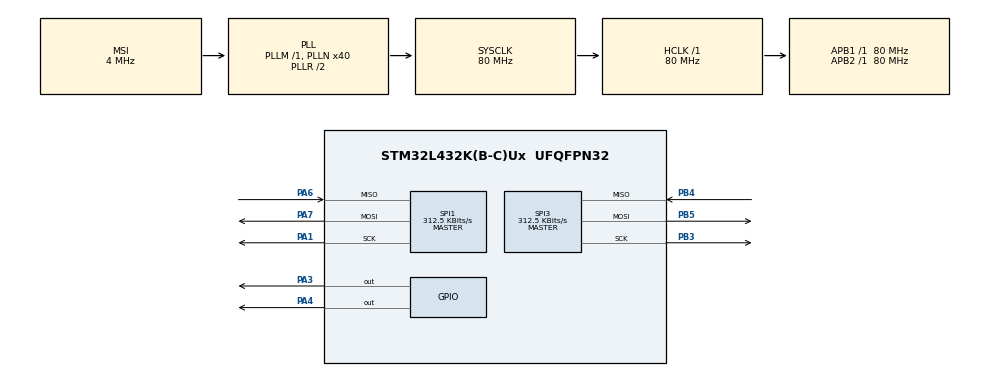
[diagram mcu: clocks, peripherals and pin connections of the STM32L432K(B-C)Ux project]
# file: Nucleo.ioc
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Dma.Request0=SPI1_RX
Dma.Request1=SPI1_TX
Dma.Request2=SPI3_RX
Dma.Request3=SPI3_TX
Dma.SPI1_RX.0.Direction=DMA_PERIPH_TO_MEMORY
Dma.SPI1_RX.0.Instance=DMA1_Channel2
Dma.SPI1_RX.0.MemDataAlignment=DMA_MDATAALIGN_BYTE
Dma.SPI1_RX.0.MemInc=DMA_MINC_ENABLE
Dma.SPI1_RX.0.Mode=DMA_NORMAL
Dma.SPI1_RX.0.PeriphDataAlignment=DMA_PDATAALIGN_BYTE
Dma.SPI1_RX.0.PeriphInc=DMA_PINC_DISABLE
Dma.SPI1_RX.0.Priority=DMA_PRIORITY_LOW
Dma.SPI1_TX.1.Direction=DMA_MEMORY_TO_PERIPH
Dma.SPI1_TX.1.Instance=DMA1_Channel3
Dma.SPI1_TX.1.MemDataAlignment=DMA_MDATAALIGN_BYTE
Dma.SPI1_TX.1.MemInc=DMA_MINC_ENABLE
Dma.SPI1_TX.1.Mode=DMA_NORMAL
Dma.SPI1_TX.1.PeriphDataAlignment=DMA_PDATAALIGN_BYTE
Dma.SPI1_TX.1.PeriphInc=DMA_PINC_DISABLE
Dma.SPI1_TX.1.Priority=DMA_PRIORITY_LOW
Dma.SPI3_RX.2.Direction=DMA_PERIPH_TO_MEMORY
Dma.SPI3_RX.2.Instance=DMA2_Channel1
Dma.SPI3_RX.2.MemDataAlignment=DMA_MDATAALIGN_BYTE
Dma.SPI3_RX.2.MemInc=DMA_MINC_ENABLE
Dma.SPI3_RX.2.Mode=DMA_NORMAL
Dma.SPI3_RX.2.PeriphDataAlignment=DMA_PDATAALIGN_BYTE
Dma.SPI3_RX.2.PeriphInc=DMA_PINC_DISABLE
Dma.SPI3_RX.2.Priority=DMA_PRIORITY_LOW
Dma.SPI3_TX.3.Direction=DMA_MEMORY_TO_PERIPH
Dma.SPI3_TX.3.Instance=DMA2_Channel2
Dma.SPI3_TX.3.MemDataAlignment=DMA_MDATAALIGN_BYTE
Dma.SPI3_TX.3.MemInc=DMA_MINC_ENABLE
Dma.SPI3_TX.3.Mode=DMA_NORMAL
Dma.SPI3_TX.3.PeriphDataAlignment=DMA_PDATAALIGN_BYTE
Dma.SPI3_TX.3.PeriphInc=DMA_PINC_DISABLE
Dma.SPI3_TX.3.Priority=DMA_PRIORITY_LOW
Mcu.Family=STM32L4
Mcu.Name=STM32L432K(B-C)Ux
Mcu.Package=UFQFPN32
NVIC.DMA1_Channel2_IRQn=true\:0\:0\:false\:false\:true\:false\:true
NVIC.DMA1_Channel3_IRQn=true\:0\:0\:false\:false\:true\:false\:true
NVIC.DMA2_Channel1_IRQn=true\:0\:0\:false\:false\:true\:false\:true
NVIC.DMA2_Channel2_IRQn=true\:0\:0\:false\:false\:true\:false\:true
NVIC.PriorityGroup=NVIC_PRIORITYGROUP_4
PA1.Mode=Full_Duplex_Master
PA1.Signal=SPI1_SCK
PA3.Signal=GPIO_Output
PA4.Signal=GPIO_Output
PA6.Mode=Full_Duplex_Master
PA6.Signal=SPI1_MISO
PA7.Mode=Full_Duplex_Master
PA7.Signal=SPI1_MOSI
PB3\ (JTDO-TRACESWO).Mode=Full_Duplex_Master
PB3\ (JTDO-TRACESWO).Signal=SPI3_SCK
PB4\ (NJTRST).Mode=Full_Duplex_Master
PB4\ (NJTRST).Signal=SPI3_MISO
PB5.Mode=Full_Duplex_Master
PB5.Signal=SPI3_MOSI
ProjectManager.HeapSize=0x200
ProjectManager.StackSize=0x400
ProjectManager.TargetToolchain=Makefile
RCC.AHBFreq_Value=80000000
RCC.APB1Freq_Value=80000000
RCC.APB1TimFreq_Value=80000000
RCC.APB2Freq_Value=80000000
RCC.APB2TimFreq_Value=80000000
RCC.CortexFreq_Value=80000000
RCC.HCLKFreq_Value=80000000
RCC.HSE_VALUE=8000000
RCC.HSI48_VALUE=48000000
RCC.HSI_VALUE=16000000
RCC.LSE_VALUE=32768
RCC.MSI_VALUE=4000000
RCC.PLLN=40
RCC.SYSCLKFreq_VALUE=80000000
RCC.SYSCLKSource=RCC_SYSCLKSOURCE_PLLCLK
RCC.VCOOutputFreq_Value=160000000
SPI1.BaudRatePrescaler=SPI_BAUDRATEPRESCALER_256
SPI1.CalculateBaudRate=312.5 KBits/s
SPI1.DataSize=SPI_DATASIZE_8BIT
SPI1.Direction=SPI_DIRECTION_2LINES
SPI1.Mode=SPI_MODE_MASTER
SPI1.NSSPMode=SPI_NSS_PULSE_DISABLE
SPI1.VirtualType=VM_MASTER
SPI3.BaudRatePrescaler=SPI_BAUDRATEPRESCALER_256
SPI3.CalculateBaudRate=312.5 KBits/s
SPI3.DataSize=SPI_DATASIZE_8BIT
SPI3.Direction=SPI_DIRECTION_2LINES
SPI3.Mode=SPI_MODE_MASTER
SPI3.NSSPMode=SPI_NSS_PULSE_DISABLE
SPI3.VirtualType=VM_MASTER
board=custom

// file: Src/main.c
/* USER CODE BEGIN Header */
/**
  ******************************************************************************
  * @file           : main.c
  * @brief          : Main program body
  ******************************************************************************
  * @attention
  *
  * <h2><center>&copy; Copyright (c) 2020 STMicroelectronics.
  * All rights reserved.</center></h2>
  *
  * This software component is licensed by ST under BSD 3-Clause license,
  * the "License"; You may not use this file except in compliance with the
  * License. You may obtain a copy of the License at:
  *                        opensource.org/licenses/BSD-3-Clause
  *
  ******************************************************************************
  */
/* USER CODE END Header */

#include "main.h"

SPI_HandleTypeDef hspi1;
SPI_HandleTypeDef hspi3;
DMA_HandleTypeDef hdma_spi1_rx;
DMA_HandleTypeDef hdma_spi1_tx;
DMA_HandleTypeDef hdma_spi3_rx;
DMA_HandleTypeDef hdma_spi3_tx;

/* USER CODE BEGIN PV */
uint8_t tx1[10], rx1[10], tx3[10], rx3[10];

/* USER CODE END PV */

void SystemClock_Config(void);
static void MX_GPIO_Init(void);
static void MX_DMA_Init(void);
static void MX_SPI1_Init(void);
static void MX_SPI3_Init(void);
/* USER CODE BEGIN PFP */
void HAL_SPI_TxRxCpltCallback(SPI_HandleTypeDef *hspi)
{
	if (hspi == &hspi1)
	{
		HAL_GPIO_WritePin(GPIOA, GPIO_PIN_4, GPIO_PIN_SET);
	}

	if (hspi == &hspi3)
	{
		HAL_GPIO_WritePin(GPIOA, GPIO_PIN_3, GPIO_PIN_SET);
	}
}
/* USER CODE END PFP */

int main(void)
{
  /* USER CODE BEGIN 1 */
  for (int i = 0; i < 10; i++)
  {
	  rx1[i] = 0xDE;
	  rx3[i] = 0xFF;
	  tx1[i] = 0x01 + i;
	  tx3[i] = 0x11 + i;
  }
  /* USER CODE END 1 */

  /* MCU Configuration--------------------------------------------------------*/

  /* Reset of all peripherals, Initializes the Flash interface and the Systick. */
  HAL_Init();

  /* Configure the system clock */
  SystemClock_Config();

  /* Initialize all configured peripherals */
  MX_GPIO_Init();
  MX_DMA_Init();
  MX_SPI1_Init();
  MX_SPI3_Init();

  /* Infinite loop */
  /* USER CODE BEGIN WHILE */
  while (1)
  {
	  HAL_Delay(100);
	  HAL_GPIO_WritePin(GPIOA, GPIO_PIN_4, GPIO_PIN_RESET);
	  HAL_SPI_TransmitReceive_DMA(&hspi1, tx1, rx1, 10);
	  HAL_Delay(100);
	  HAL_GPIO_WritePin(GPIOA, GPIO_PIN_3, GPIO_PIN_RESET);
	  HAL_SPI_TransmitReceive_DMA(&hspi3, tx3, rx3, 10);

	/* USER CODE END WHILE */

  }
}

void SystemClock_Config(void)
{
  RCC_OscInitTypeDef RCC_OscInitStruct = {0};
  RCC_ClkInitTypeDef RCC_ClkInitStruct = {0};

  /** Initializes the CPU, AHB and APB busses clocks
  */
  RCC_OscInitStruct.OscillatorType = RCC_OSCILLATORTYPE_MSI;
  RCC_OscInitStruct.MSIState = RCC_MSI_ON;
  RCC_OscInitStruct.MSICalibrationValue = 0;
  RCC_OscInitStruct.MSIClockRange = RCC_MSIRANGE_6;
  RCC_OscInitStruct.PLL.PLLState = RCC_PLL_ON;
  RCC_OscInitStruct.PLL.PLLSource = RCC_PLLSOURCE_MSI;
  RCC_OscInitStruct.PLL.PLLM = 1;
  RCC_OscInitStruct.PLL.PLLN = 40;
  RCC_OscInitStruct.PLL.PLLP = RCC_PLLP_DIV7;
  RCC_OscInitStruct.PLL.PLLQ = RCC_PLLQ_DIV2;
  RCC_OscInitStruct.PLL.PLLR = RCC_PLLR_DIV2;
  if (HAL_RCC_OscConfig(&RCC_OscInitStruct) != HAL_OK)
  {
    Error_Handler();
  }
  /** Initializes the CPU, AHB and APB busses clocks
  */
  RCC_ClkInitStruct.ClockType = RCC_CLOCKTYPE_HCLK|RCC_CLOCKTYPE_SYSCLK
                              |RCC_CLOCKTYPE_PCLK1|RCC_CLOCKTYPE_PCLK2;
  RCC_ClkInitStruct.SYSCLKSource = RCC_SYSCLKSOURCE_PLLCLK;
  RCC_ClkInitStruct.AHBCLKDivider = RCC_SYSCLK_DIV1;
  RCC_ClkInitStruct.APB1CLKDivider = RCC_HCLK_DIV1;
  RCC_ClkInitStruct.APB2CLKDivider = RCC_HCLK_DIV1;

  if (HAL_RCC_ClockConfig(&RCC_ClkInitStruct, FLASH_LATENCY_4) != HAL_OK)
  {
    Error_Handler();
  }
  /** Configure the main internal regulator output voltage
  */
  if (HAL_PWREx_ControlVoltageScaling(PWR_REGULATOR_VOLTAGE_SCALE1) != HAL_OK)
  {
    Error_Handler();
  }
}

static void MX_SPI1_Init(void)
{

  /* SPI1 parameter configuration*/
  hspi1.Instance = SPI1;
  hspi1.Init.Mode = SPI_MODE_MASTER;
  hspi1.Init.Direction = SPI_DIRECTION_2LINES;
  hspi1.Init.DataSize = SPI_DATASIZE_8BIT;
  hspi1.Init.CLKPolarity = SPI_POLARITY_LOW;
  hspi1.Init.CLKPhase = SPI_PHASE_1EDGE;
  hspi1.Init.NSS = SPI_NSS_SOFT;
  hspi1.Init.BaudRatePrescaler = SPI_BAUDRATEPRESCALER_256;
  hspi1.Init.FirstBit = SPI_FIRSTBIT_MSB;
  hspi1.Init.TIMode = SPI_TIMODE_DISABLE;
  hspi1.Init.CRCCalculation = SPI_CRCCALCULATION_DISABLE;
  hspi1.Init.CRCPolynomial = 7;
  hspi1.Init.CRCLength = SPI_CRC_LENGTH_DATASIZE;
  hspi1.Init.NSSPMode = SPI_NSS_PULSE_DISABLE;
  if (HAL_SPI_Init(&hspi1) != HAL_OK)
  {
    Error_Handler();
  }

}

static void MX_SPI3_Init(void)
{

  /* SPI3 parameter configuration*/
  hspi3.Instance = SPI3;
  hspi3.Init.Mode = SPI_MODE_MASTER;
  hspi3.Init.Direction = SPI_DIRECTION_2LINES;
  hspi3.Init.DataSize = SPI_DATASIZE_8BIT;
  hspi3.Init.CLKPolarity = SPI_POLARITY_LOW;
  hspi3.Init.CLKPhase = SPI_PHASE_1EDGE;
  hspi3.Init.NSS = SPI_NSS_SOFT;
  hspi3.Init.BaudRatePrescaler = SPI_BAUDRATEPRESCALER_256;
  hspi3.Init.FirstBit = SPI_FIRSTBIT_MSB;
  hspi3.Init.TIMode = SPI_TIMODE_DISABLE;
  hspi3.Init.CRCCalculation = SPI_CRCCALCULATION_DISABLE;
  hspi3.Init.CRCPolynomial = 7;
  hspi3.Init.CRCLength = SPI_CRC_LENGTH_DATASIZE;
  hspi3.Init.NSSPMode = SPI_NSS_PULSE_DISABLE;
  if (HAL_SPI_Init(&hspi3) != HAL_OK)
  {
    Error_Handler();
  }

}

static void MX_DMA_Init(void)
{

  /* DMA controller clock enable */
  __HAL_RCC_DMA1_CLK_ENABLE();
  __HAL_RCC_DMA2_CLK_ENABLE();

  /* DMA interrupt init */
  /* DMA1_Channel2_IRQn interrupt configuration */
  HAL_NVIC_SetPriority(DMA1_Channel2_IRQn, 0, 0);
  HAL_NVIC_EnableIRQ(DMA1_Channel2_IRQn);
  /* DMA1_Channel3_IRQn interrupt configuration */
  HAL_NVIC_SetPriority(DMA1_Channel3_IRQn, 0, 0);
  HAL_NVIC_EnableIRQ(DMA1_Channel3_IRQn);
  /* DMA2_Channel1_IRQn interrupt configuration */
  HAL_NVIC_SetPriority(DMA2_Channel1_IRQn, 0, 0);
  HAL_NVIC_EnableIRQ(DMA2_Channel1_IRQn);
  /* DMA2_Channel2_IRQn interrupt configuration */
  HAL_NVIC_SetPriority(DMA2_Channel2_IRQn, 0, 0);
  HAL_NVIC_EnableIRQ(DMA2_Channel2_IRQn);

}

static void MX_GPIO_Init(void)
{
  GPIO_InitTypeDef GPIO_InitStruct = {0};

  /* GPIO Ports Clock Enable */
  __HAL_RCC_GPIOA_CLK_ENABLE();
  __HAL_RCC_GPIOB_CLK_ENABLE();

  /*Configure GPIO pin Output Level */
  HAL_GPIO_WritePin(GPIOA, GPIO_PIN_3|GPIO_PIN_4, GPIO_PIN_RESET);

  /*Configure GPIO pins : PA3 PA4 */
  GPIO_InitStruct.Pin = GPIO_PIN_3|GPIO_PIN_4;
  GPIO_InitStruct.Mode = GPIO_MODE_OUTPUT_PP;
  GPIO_InitStruct.Pull = GPIO_NOPULL;
  GPIO_InitStruct.Speed = GPIO_SPEED_FREQ_LOW;
  HAL_GPIO_Init(GPIOA, &GPIO_InitStruct);

}

void Error_Handler(void)
{
}

/************************ (C) COPYRIGHT STMicroelectronics *****END OF FILE****/
